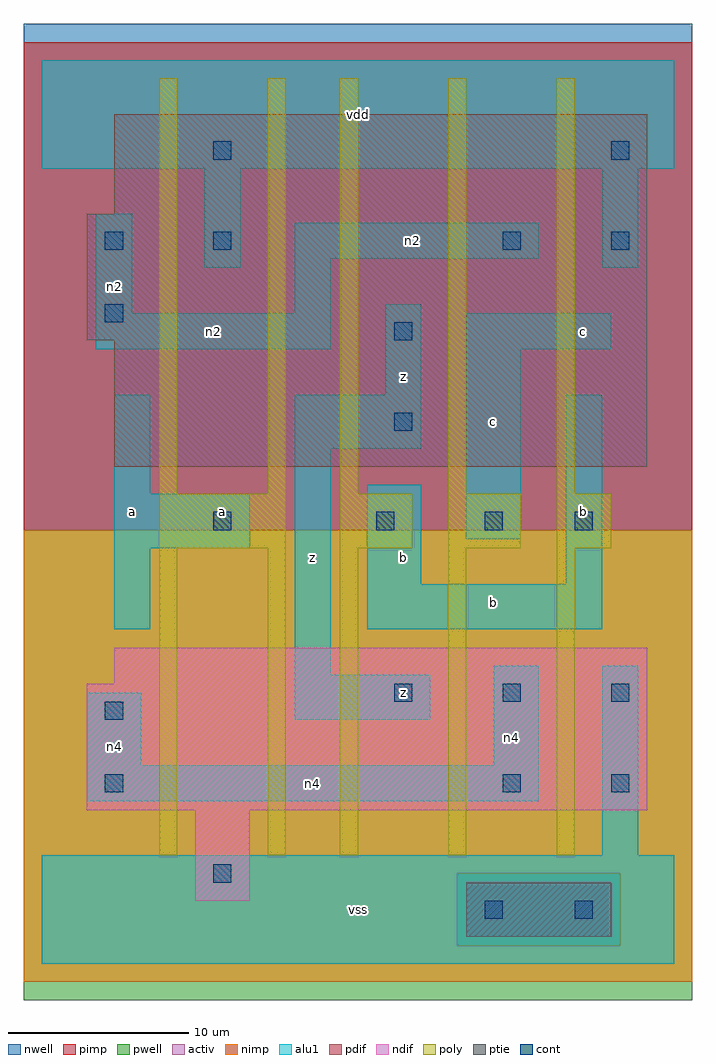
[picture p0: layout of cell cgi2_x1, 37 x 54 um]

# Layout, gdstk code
import gdstk
lib = gdstk.Library(unit=1e-6, precision=1e-09)
def R(c, l, rs):  # rectangles x0, y0, x1, y1
    for r in rs: c.add(gdstk.rectangle(r[:2], r[2:], *l))
def A(c, l, x, y, w, h, nx, ny, dx, dy):  # array of equal rectangles
    R(c, l, [(x+i*dx, y+j*dy, x+i*dx+w, y+j*dy+h) for i in range(nx) for j in range(ny)])
ndif = (3, 0)
pdif = (4, 0)
ptie = (6, 0)
cont = (25, 0)
pwell = (41, 0)
nwell = (42, 0)
activ = (43, 0)
pimp = (44, 0)
nimp = (45, 0)
poly = (46, 0)
alu1 = (49, 0)

cgi2_x1 = lib.new_cell('cgi2_x1')
R(cgi2_x1, ndif, [(8.5,3.5,11.5,8.5), (2.5,8.5,33.5,15.5), (4,15.5,33.5,17.5)])
R(cgi2_x1, pdif, [(4,27.5,33.5,34.5), (2.5,34.5,33.5,41.5), (4,41.5,33.5,47)])
R(cgi2_x1, ptie, [(23.5,1.5,31.5,4.5)])
A(cgi2_x1, cont, 19.5, 14.5, 1, 1, 3, 1, 6, 0)
R(cgi2_x1, cont, [(24.5,2.5,25.5,3.5), (29.5,2.5,30.5,3.5), (9.5,4.5,10.5,5.5), (3.5,9.5,4.5,10.5), (25.5,9.5,26.5,10.5), (31.5,9.5,32.5,10.5), (3.5,13.5,4.5,14.5), (9.5,24,10.5,25), (18.5,24,19.5,25), (24.5,24,25.5,25), (29.5,24,30.5,25), (19.5,29.5,20.5,30.5), (19.5,34.5,20.5,35.5), (3.5,35.5,4.5,36.5), (3.5,39.5,4.5,40.5), (9.5,39.5,10.5,40.5), (25.5,39.5,26.5,40.5), (31.5,39.5,32.5,40.5), (9.5,44.5,10.5,45.5), (31.5,44.5,32.5,45.5)])
R(cgi2_x1, pwell, [(-1,-2,36,24)])
R(cgi2_x1, nwell, [(-1,24,36,52)])
R(cgi2_x1, activ, [(23.5,1.5,31.5,4.5), (8.5,3.5,11.5,8.5), (2.5,8.5,33.5,15.5), (4,15.5,33.5,17.5), (4,27.5,33.5,34.5), (2.5,34.5,33.5,41.5), (4,41.5,33.5,47)])
R(cgi2_x1, pimp, [(23,1,32,5), (-1,24,36,51)])
R(cgi2_x1, nimp, [(-1,-1,36,1), (-1,1,23,5), (32,1,36,5), (-1,5,36,24)])
A(cgi2_x1, poly, 16.5, 6, 1, 17, 3, 1, 6, 0)
A(cgi2_x1, poly, 16.5, 26, 1, 23, 3, 1, 6, 0)
R(cgi2_x1, poly, [(6.5,6,7.5,23), (12.5,6,13.5,23), (6.5,23,13.5,26), (16.5,23,20.5,26), (22.5,23,26.5,26), (28.5,23,31.5,26), (6.5,26,7.5,49), (12.5,26,13.5,49)])
R(cgi2_x1, alu1, [(0,0,35,6), (31,6,33,16.5), (2.5,9,27.5,11), (2.5,11,5.5,15), (25,11,27.5,16.5), (14,13.5,21.5,16), (14,16,16,28.5), (4,18.5,6,23), (18,18.5,31,21), (18,21,21,26.5), (29,21,31,31.5), (4,23,11.5,26), (23.5,23.5,26.5,34), (4,26,6,31.5), (14,28.5,21,31.5), (19,31.5,21,36.5), (3,34,16,36), (23.5,34,31.5,36), (3,36,5,41.5), (14,36,16,39), (9,38.5,11,44), (31,38.5,33,44), (14,39,27.5,41), (0,44,35,50)])
cgi2_x1.add(gdstk.Label('n4', (4,12), layer=49, texttype=0))
cgi2_x1.add(gdstk.Label('n2', (4,37.5), layer=49, texttype=0))
cgi2_x1.add(gdstk.Label('a', (5,25), layer=49, texttype=0))
cgi2_x1.add(gdstk.Label('a', (10,25), layer=49, texttype=0))
cgi2_x1.add(gdstk.Label('vss', (17.5,3), layer=49, texttype=0))
cgi2_x1.add(gdstk.Label('z', (15,22.5), layer=49, texttype=0))
cgi2_x1.add(gdstk.Label('n2', (9.5,35), layer=49, texttype=0))
cgi2_x1.add(gdstk.Label('vdd', (17.5,47), layer=49, texttype=0))
cgi2_x1.add(gdstk.Label('n4', (26,12.5), layer=49, texttype=0))
cgi2_x1.add(gdstk.Label('n4', (15,10), layer=49, texttype=0))
cgi2_x1.add(gdstk.Label('z', (20,15), layer=49, texttype=0))
cgi2_x1.add(gdstk.Label('b', (25,20), layer=49, texttype=0))
cgi2_x1.add(gdstk.Label('b', (20,22.5), layer=49, texttype=0))
cgi2_x1.add(gdstk.Label('c', (25,30), layer=49, texttype=0))
cgi2_x1.add(gdstk.Label('z', (20,32.5), layer=49, texttype=0))
cgi2_x1.add(gdstk.Label('n2', (20.5,40), layer=49, texttype=0))
cgi2_x1.add(gdstk.Label('b', (30,25), layer=49, texttype=0))
cgi2_x1.add(gdstk.Label('c', (30,35), layer=49, texttype=0))

lib.write_gds('cgi2_x1.gds')
